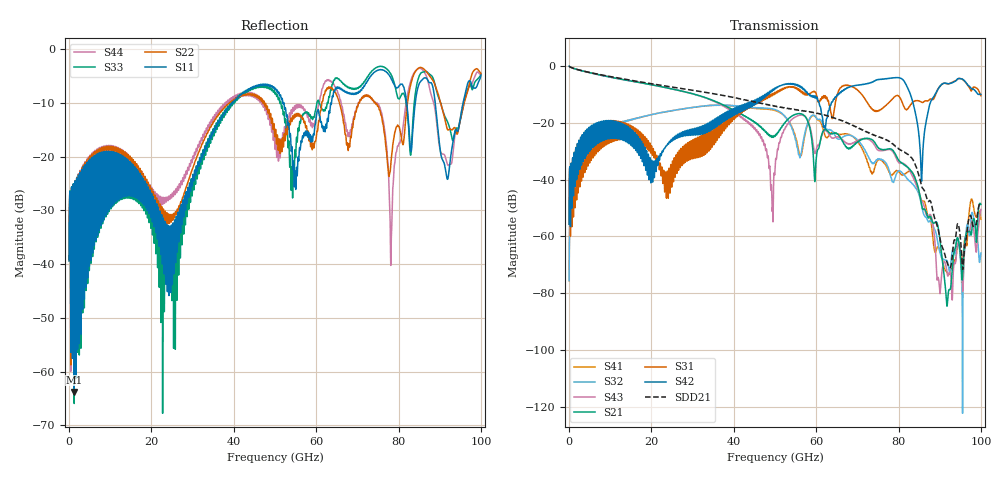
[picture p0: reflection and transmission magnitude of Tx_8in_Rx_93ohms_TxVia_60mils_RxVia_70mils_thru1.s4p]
! Info: Touchstone file created by Circ.  Input file=Tx_8in_Rx_93ohms_TxVia_60mils_RxVia_70mils.circ
# Hz S RI R 50
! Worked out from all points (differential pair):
!   10000 points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, 10 MHz to 100 GHz, reference 50 ohm
!   strongest paths, dB at 10 MHz, 25.01 GHz, 50.01 GHz, 75.01 GHz, 100 GHz:
!     S42: -55.7, -26.4, -7.9, -4.9, -10.0
!     S31: -55.7, -37.4, -9.5, -15.9, -10.5
!     S21: -0.1, -8.1, -24.8, -28.6, -48.8
!     S43: -0.1, -8.1, -36.5, -29.6, -50.5
!     S32: -75.6, -15.7, -15.3, -32.6, -65.9
!     S41: -75.6, -15.7, -15.7, -33.1, -54.0
!   taken as a pair (ports 1,3 in; 2,4 out), SDD21 dB: -0.1, -7.4, -14.2, -24.8, -48.1
!   lowest |S11| = -63.8 dB at 1.25 GHz (marker M1), VSWR 1.00, Z = 50 - j0.0499 ohm
!   |S11| at or under -10 dB: start of sweep to 39.71 GHz; 52.15 GHz to 63.72 GHz (11.57 GHz wide, 20 % of centre); 88.91 GHz to 95.7 GHz (6.794 GHz wide, 7.36 % of centre) (the widest 3 of 5)
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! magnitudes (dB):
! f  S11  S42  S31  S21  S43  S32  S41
! 10 MHz  -39.3  -55.7  -55.7  -0.1  -0.1  -75.6  -75.6
! 1.25 GHz  -63.8  -30.4  -30.5  -0.9  -0.9  -35.7  -35.7
! 59.36 GHz  -15.8  -10.6  -9.0  -33.2  -28.7  -17.3  -17.5
! 78.6 GHz  -6.1  -4.3  -11.5  -29.7  -30.1  -40.7  -38.1
! 85.58 GHz  -5.9  -40.6  -12.8  -48.7  -47.2  -48.9  -47.5
! 91.91 GHz  -24.2  -6.2  -6.4  -82.7  -73.8  -69.0  -73.2
! 100 GHz  -5.0  -10.0  -10.5  -48.8  -50.5  -65.9  -54.0
